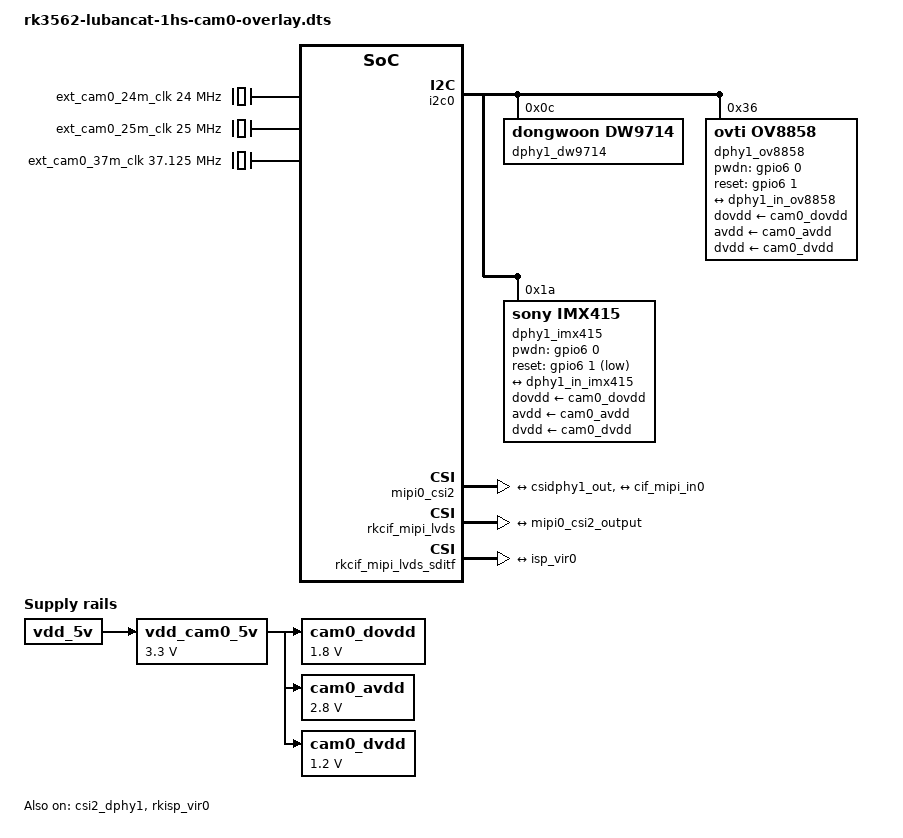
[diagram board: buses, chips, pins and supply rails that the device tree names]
/dts-v1/;
/plugin/;

#include <dt-bindings/usb/pd.h>
#include <dt-bindings/gpio/gpio.h>
#include <dt-bindings/pwm/pwm.h>
#include <dt-bindings/pinctrl/rockchip.h>
#include <dt-bindings/input/rk-input.h>
#include <dt-bindings/display/drm_mipi_dsi.h>
#include <dt-bindings/display/rockchip_vop.h>
#include <dt-bindings/sensor-dev.h>

/ {
	fragment@0 {
		target-path = "/";

		__overlay__ {
            ext_cam0_24m_clk: external-camera-24m-clock {
            	compatible = "fixed-clock";
            	#clock-cells = <0>;
            	clock-frequency = <24000000>;
            	clock-output-names = "ext_cam0_24m_clk";
            };

            ext_cam0_25m_clk: external-camera-25m-clock {
            	compatible = "fixed-clock";
            	clock-frequency = <25000000>;
            	clock-output-names = "ext_cam0_25m_clk";
            	#clock-cells = <0>;
            };

            ext_cam0_37m_clk: external-camera-37m-clock {
            	compatible = "fixed-clock";
            	#clock-cells = <0>;
            	clock-frequency = <37125000>;
            	clock-output-names = "ext_cam0_37m_clk";
            };

            vdd_cam0_5v: vdd-cam-5v-regulator {
            	compatible = "regulator-fixed";
            	regulator-name = "vdd_cam0_5v";
            	regulator-always-on;
            	regulator-boot-on;
            	regulator-min-microvolt = <3300000>;
            	regulator-max-microvolt = <3300000>;
            	vin-supply = <&vdd_5v>;
            };

            cam0_dovdd: cam-dovdd {
            	compatible = "regulator-fixed";
            	regulator-name = "cam0_dovdd";
            	regulator-always-on;
            	regulator-boot-on;
            	regulator-min-microvolt = <1800000>;
            	regulator-max-microvolt = <1800000>;
            	vin-supply = <&vdd_cam0_5v>;
            };

            cam0_avdd: cam-avdd {
            	compatible = "regulator-fixed";
            	regulator-name = "cam0_avdd";
            	regulator-always-on;
            	regulator-boot-on;
            	regulator-min-microvolt = <2800000>;
            	regulator-max-microvolt = <2800000>;
            	vin-supply = <&vdd_cam0_5v>;
            };

            cam0_dvdd: cam-dvdd {
            	compatible = "regulator-fixed";
            	regulator-name = "cam0_dvdd";
            	regulator-always-on;
            	regulator-boot-on;
            	regulator-min-microvolt = <1200000>;
            	regulator-max-microvolt = <1200000>;
            	vin-supply = <&vdd_cam0_5v>;
            };
        };
    };

	fragment@1 {
		target = <&i2c0>;

		__overlay__ {
            status = "okay";
			#address-cells = <1>;
			#size-cells = <0>;

            dphy1_dw9714: dw9714@c {
            	status = "okay";
            	compatible = "dongwoon,dw9714";
            	reg = <0xc>;
            	rockchip,camera-module-index = <0>;
            	rockchip,vcm-max-current = <100>;
            	rockchip,vcm-start-current = <0>;
            	rockchip,vcm-rated-current = <100>;
            	rockchip,vcm-step-mode = <0xd>;
            	rockchip,vcm-dlc-enable = <0>;
            	rockchip,vcm-mclk = <0>;
            	rockchip,vcm-t-src = <0>;
            	rockchip,camera-module-facing = "back";
            };

            dphy1_ov5647: ov5647@36 {
            	compatible = "ovti,ov5647";
            	status = "disabled";
            	reg = <0x36>;
            	clocks = <&ext_cam0_25m_clk>;
            	clock-names = "ext_cam0_25m_clk";
            	pwdn-gpios = <&gpio6 0 GPIO_ACTIVE_LOW>;
            	lens-focus = <&dphy1_dw9714>;

            	port {
            		ov5647_dphy1_out: endpoint {
            			remote-endpoint = <&dphy1_in_ov5647>;
            			data-lanes = <1 2>;
            		};
            	};
            };

            dphy1_ov5648: ov5648@36 {
            	compatible = "ovti,ov5648";
            	status = "disabled";
            	reg = <0x36>;
            	clocks = <&ext_cam0_24m_clk>;
            	clock-names = "xvclk";
            	dovdd-supply= <&cam0_dovdd>; /* 1.8v */
            	avdd-supply = <&cam0_avdd>;  /* 2.8v */
            	dvdd-supply = <&cam0_dvdd>;  /* 1.2v */
            	pwdn-gpios = <&gpio6 0 GPIO_ACTIVE_HIGH>;
            	reset-gpios = <&gpio6 1 GPIO_ACTIVE_LOW>;
            	rotation = <180>;

            	rockchip,camera-module-index = <0>;
            	rockchip,camera-module-facing = "back";
            	rockchip,camera-module-name = "THDS11073";
            	rockchip,camera-module-lens-name = "Largan-40122a1";
            	lens-focus = <&dphy1_dw9714>;

            	port {
            		/* MIPI CSI-2 bus endpoint */
            		ov5648_dphy1_out: endpoint {
            			remote-endpoint = <&dphy1_in_ov5648>;
            			clock-lanes = <0>;
            			data-lanes = <1 2>;
            		};
            	};
            };

            dphy1_ov8858: ov8858@36 {
            	compatible = "ovti,ov8858";
            	status = "okay";
            	reg = <0x36>;
            	clocks = <&ext_cam0_24m_clk>;
            	clock-names = "xvclk";
            	dovdd-supply= <&cam0_dovdd>; /* 1.8v */
            	avdd-supply = <&cam0_avdd>;  /* 2.8v */
            	dvdd-supply = <&cam0_dvdd>;  /* 1.2v */
            	pwdn-gpios = <&gpio6 0 GPIO_ACTIVE_HIGH>;
            	reset-gpios = <&gpio6 1 GPIO_ACTIVE_HIGH>;
            	rotation = <180>;

            	rockchip,camera-module-index = <0>;
            	rockchip,camera-module-facing = "back";
            	rockchip,camera-module-name = "HS5885-BNSM1018-V01";
            	rockchip,camera-module-lens-name = "default";
            	lens-focus = <&dphy1_dw9714>;

            	port {
            		/* MIPI CSI-2 bus endpoint */
            		ov8858_dphy1_out: endpoint {
            			remote-endpoint = <&dphy1_in_ov8858>;
            			clock-lanes = <0>;
            			data-lanes = <1 2>;
            		};
            	};
            };

            dphy1_ov13850: ov13850@10 {
            	compatible = "ovti,ov13850";
            	status = "disabled";
            	reg = <0x10>;
            	clocks = <&ext_cam0_24m_clk>;
            	clock-names = "xvclk";
            	dovdd-supply= <&cam0_dovdd>; /* 1.8v */
            	avdd-supply = <&cam0_avdd>;  /* 2.8v */
            	dvdd-supply = <&cam0_dvdd>;  /* 1.2v */
            	pwdn-gpios = <&gpio6 0 GPIO_ACTIVE_HIGH>;
            	reset-gpios = <&gpio6 1 GPIO_ACTIVE_HIGH>;
            	rotation = <180>;

            	rockchip,camera-module-index = <2>;
            	rockchip,camera-module-facing = "back";
            	rockchip,camera-module-name = "ZC-OV13850R2A-V1";
            	rockchip,camera-module-lens-name = "Largan-50064B31";
            	lens-focus = <&dphy1_dw9714>;

            	port {
            		/* MIPI CSI-2 bus endpoint */
            		ov13850_dphy1_out: endpoint {
            			remote-endpoint = <&dphy1_in_ov13850>;
            			clock-lanes = <0>;
            			data-lanes = <1 2>;
            		};
            	};
            };

            dphy1_imx415: imx415@1a {
            	compatible = "sony,imx415";
            	status = "okay";
            	reg = <0x1a>;
            	clocks = <&ext_cam0_37m_clk>;
            	clock-names = "xvclk";
            	dovdd-supply = <&cam0_dovdd>;
            	avdd-supply = <&cam0_avdd>;
            	dvdd-supply = <&cam0_dvdd>;
            	pwdn-gpios = <&gpio6 0 GPIO_ACTIVE_HIGH>;
            	reset-gpios = <&gpio6 1 GPIO_ACTIVE_LOW>;

            	rockchip,camera-module-index = <0>;
            	rockchip,camera-module-facing = "back";
            	rockchip,camera-module-name = "CMK-OT2022-PX1";
            	rockchip,camera-module-lens-name = "IR0147-50IRC-8M-F20";
            	// NO_HDR:0 HDR_X2:5 HDR_X3:6
            	// rockchip,camera-hdr-mode = <0>;
            	port {
            		imx415_dphy1_out: endpoint {
            			remote-endpoint = <&dphy1_in_imx415>;
            			data-lanes = <1 2>;
            		};
            	};
            };       
        };
    };    

    /* Link path: sensor->csi2_dphy1->mipi0_csi2->rkcif_mipi_lvds--->rkcif_mipi_lvds_sditf->rkisp_vir0 */
	fragment@2 {
		target = <&csi2_dphy1>;

		__overlay__ {
            status = "okay";

            ports {
            	#address-cells = <1>;
            	#size-cells = <0>;
            	port@0 {
            		reg = <0>;
            		#address-cells = <1>;
            		#size-cells = <0>;

            		dphy1_in_ov5647: endpoint@1 {
            			reg = <1>;
            			remote-endpoint = <&ov5647_dphy1_out>;
            			data-lanes = <1 2>;
            		};

            		dphy1_in_ov5648: endpoint@2 {
            			reg = <2>;
            			remote-endpoint = <&ov5648_dphy1_out>;
            			data-lanes = <1 2>;
            		};

            		dphy1_in_ov8858: endpoint@3 {
            			reg = <3>;
            			remote-endpoint = <&ov8858_dphy1_out>;
            			data-lanes = <1 2>;
            		};

            		dphy1_in_ov13850: endpoint@4 {
            			reg = <4>;
            			remote-endpoint = <&ov13850_dphy1_out>;
            			data-lanes = <1 2>;
            		};

            		dphy1_in_imx415: endpoint@5 {
            			reg = <5>;
            			remote-endpoint = <&imx415_dphy1_out>;
            			data-lanes = <1 2>;
            		};
            	};

            	port@1 {
            		reg = <1>;
            		#address-cells = <1>;
            		#size-cells = <0>;

            		csidphy1_out: endpoint@0 {
            			reg = <0>;
            			remote-endpoint = <&mipi0_csi2_input>;
            		};
            	};
            };
        };   
    }; 

	fragment@3 {
		target = <&mipi0_csi2>;

		__overlay__ {
            status = "okay";

            ports {
            	#address-cells = <1>;
            	#size-cells = <0>;

            	port@0 {
            		reg = <0>;
            		#address-cells = <1>;
            		#size-cells = <0>;

            		mipi0_csi2_input: endpoint@1 {
            			reg = <1>;
            			remote-endpoint = <&csidphy1_out>;
            		};
            	};

            	port@1 {
            		reg = <1>;
            		#address-cells = <1>;
            		#size-cells = <0>;

            		mipi0_csi2_output: endpoint@0 {
            			reg = <0>;
            			remote-endpoint = <&cif_mipi_in0>;
            		};
            	};
            };
        };
    };    

	fragment@4 {
		target = <&rkcif_mipi_lvds>;

		__overlay__ {
            status = "okay";

            port {
            	cif_mipi_in0: endpoint {
            		remote-endpoint = <&mipi0_csi2_output>;
            	};
            };
        };
    };    

	fragment@5 {
		target = <&rkcif_mipi_lvds_sditf>;

		__overlay__ {
            status = "okay";

            port {
            	mipi_lvds_sditf: endpoint {
            		remote-endpoint = <&isp_vir0>;
            	};
            };
        };
    };    

	fragment@6 {
		target = <&rkisp_vir0>;

		__overlay__ {
            status = "okay";
            
            port {
            	#address-cells = <1>;
            	#size-cells = <0>;
            
            	isp_vir0: endpoint@0 {
            		reg = <0>;
            		remote-endpoint = <&mipi_lvds_sditf>;
            	};
            };
        };
    };    
};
